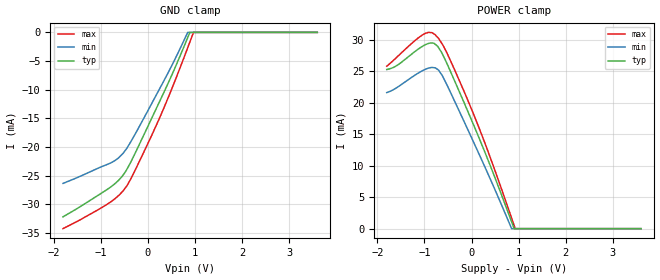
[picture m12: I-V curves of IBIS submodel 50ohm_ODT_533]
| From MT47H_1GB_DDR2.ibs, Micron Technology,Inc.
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|   SUBMODEL 50ohm_ODT_533 (50 Ohm ODT Submodel for 400/533 Mbps
[Submodel]  50ohm_ODT_533
Submodel_type   Dynamic_clamp
[GND Clamp]
|   Voltage   I(typ)   I(min)   I(max)
-1.8V     -32.18mA   -26.35mA   -34.24mA
-770mV    -26.87mA   -22.71mA   -29.48mA
-625mV    -25.86mA   -21.93mA   -28.51mA
-545mV    -25.14mA   -21.28mA   -27.85mA
-445mV    -23.91mA   -20.23mA   -26.79mA
-250mV    -20.78mA   -17.48mA   -23.74mA
230mV     -12.43mA   -10.17mA   -15.32mA
475mV     -8.097mA   -6.363mA   -10.57mA
760mV     -2.666mA   -1.552mA   -4.593mA
894mV     0A         0A         NA
971mV     0A         0A         0A
3.6V      0A         0A         0A
[POWER Clamp]
|   Voltage   I(typ)   I(min)   I(max)
-1.8V     25.3mA     21.63mA    25.84mA
-1.57V    26.01mA    22.5mA     27.38mA
-990mV    29.22mA    25.3mA     31.02mA
-820mV    29.52mA    25.62mA    31.07mA
-700mV    28.79mA    25.21mA    30.25mA
-620mV    27.81mA    24.34mA    29.34mA
-445mV    24.97mA    21.65mA    26.69mA
120mV     15.15mA    12.52mA    16.79mA
675mV     4.631mA    3.124mA    5.496mA
906mV     0A         0A         NA
929mV     0A         0A         0A
3.6V      0A         0A         0A
